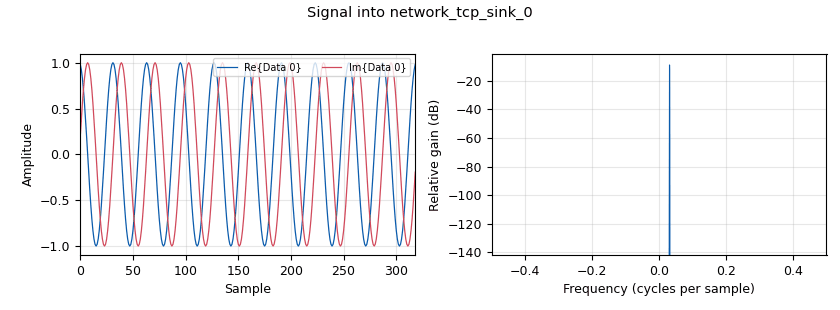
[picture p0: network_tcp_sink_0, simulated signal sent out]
options:
  parameters:
    author: thompa
    generate_options: no_gui
    id: source
    output_language: python
    title: Zero
  states: {}

blocks:
- name: samp_rate
  id: variable
  parameters:
    value: '32000'
  states: {}
- name: analog_sig_source_x_0
  id: analog_sig_source_x
  parameters:
    amp: '1'
    freq: '1000'
    offset: '0'
    phase: '0'
    samp_rate: samp_rate
    type: complex
    waveform: analog.GR_COS_WAVE
  states: {}
- name: blocks_throttle2_0
  id: blocks_throttle2
  parameters:
    samples_per_second: samp_rate
    type: complex
  states: {}
- name: network_tcp_sink_0
  id: network_tcp_sink
  parameters:
    mode: '2'
    port: '2000'
    type: complex
  states: {}

connections:
- [analog_sig_source_x_0, '0', blocks_throttle2_0, '0']
- [blocks_throttle2_0, '0', network_tcp_sink_0, '0']

metadata:
  file_format: 1
  grc_version: 3.10.6.0
